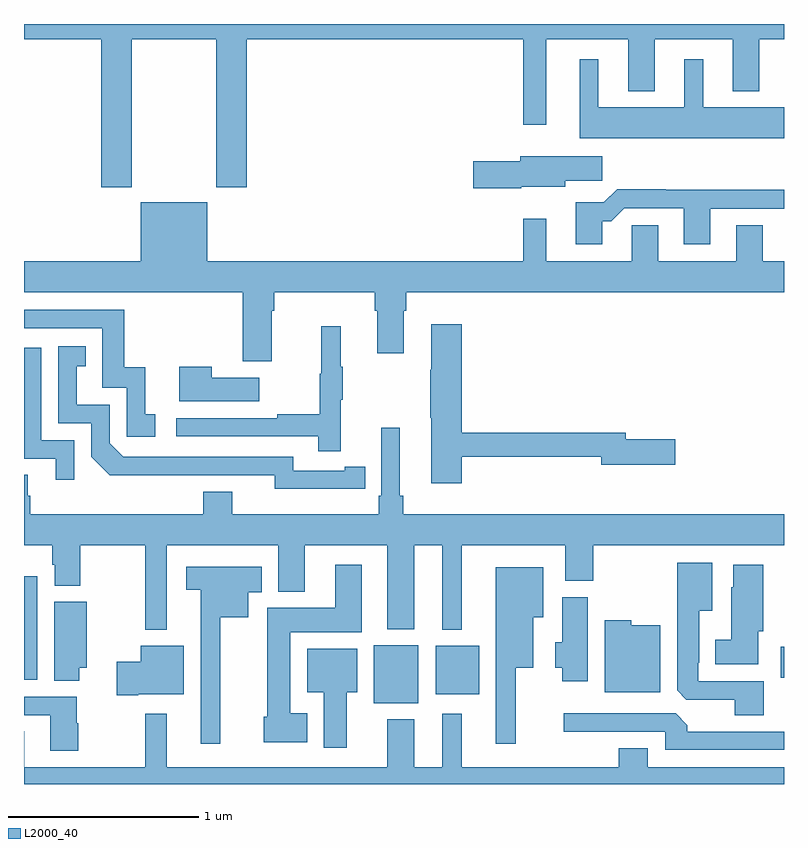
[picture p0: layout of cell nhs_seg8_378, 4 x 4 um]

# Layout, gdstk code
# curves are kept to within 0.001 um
import gdstk
lib = gdstk.Library(unit=1e-6, precision=1e-09)
def R(c, l, rs):  # rectangles x0, y0, x1, y1
    for r in rs: c.add(gdstk.rectangle(r[:2], r[2:], *l))
def P(c, l, *ps):  # polygons
    for p in ps: c.add(gdstk.Polygon(p, *l))
L2000_40 = (2000, 40)

nhs_seg8_378 = lib.new_cell('nhs_seg8_378')
R(nhs_seg8_378, L2000_40, [(136.841,1126.325,137.074,1126.63), (137.168,1126.373,137.395,1126.627), (135,1126.448,135.07,1126.993), (138.984,1126.46,139,1126.623)])
P(nhs_seg8_378, L2000_40, [(135,1129.82),(135.407,1129.82),(135.407,1129.041),(135.567,1129.041),(135.567,1129.82),(136.012,1129.82),(136.012,1129.041),(136.172,1129.041),(136.172,1129.82),(137.628,1129.82),(137.628,1129.371),(137.749,1129.371),(137.749,1129.82),(138.179,1129.82),(138.179,1129.547),(138.319,1129.547),(138.319,1129.82),(138.731,1129.82),(138.731,1129.547),(138.871,1129.547),(138.871,1129.82),(139,1129.82),(139,1129.9),(135,1129.9)],
  [(139,1129.462),(138.574,1129.462),(138.574,1129.714),(138.476,1129.714),(138.476,1129.462),(138.022,1129.462),(138.022,1129.714),(137.924,1129.714),(137.924,1129.298),(139,1129.298)],
  [(137.616,1129.043),(137.848,1129.043),(137.848,1129.075),(138.043,1129.075),(138.043,1129.204),(137.612,1129.204),(137.612,1129.178),(137.364,1129.178),(137.364,1129.036),(137.616,1129.036)],
  [(138.043,1128.863),(138.092,1128.863),(138.159,1128.93),(138.473,1128.93),(138.473,1128.741),(138.613,1128.741),(138.613,1128.927),(139,1128.927),(139,1129.028),(138.377,1129.028),(138.377,1129.031),(138.122,1129.031),(138.052,1128.961),(137.903,1128.961),(137.903,1128.741),(138.043,1128.741)],
  [(139,1128.652),(138.889,1128.652),(138.889,1128.842),(138.749,1128.842),(138.749,1128.652),(138.337,1128.652),(138.337,1128.842),(138.198,1128.842),(138.198,1128.652),(137.749,1128.652),(137.749,1128.874),(137.628,1128.874),(137.628,1128.652),(135.964,1128.652),(135.964,1128.961),(135.614,1128.961),(135.614,1128.652),(135,1128.652),(135,1128.488),(136.151,1128.488),(136.151,1128.126),(136.303,1128.126),(136.303,1128.392),(136.316,1128.392),(136.316,1128.488),(136.847,1128.488),(136.847,1128.392),(136.859,1128.392),(136.859,1128.168),(136.999,1128.168),(136.999,1128.392),(137.012,1128.392),(137.012,1128.488),(139,1128.488)],
  [(135.691,1127.847),(135.638,1127.847),(135.638,1128.094),(135.527,1128.094),(135.527,1128.396),(135,1128.396),(135,1128.3),(135.411,1128.3),(135.411,1127.985),(135.54,1127.985),(135.54,1127.727),(135.691,1127.727)],
  [(137.303,1127.622),(138.038,1127.622),(138.038,1127.579),(138.427,1127.579),(138.427,1127.714),(138.166,1127.714),(138.166,1127.75),(137.303,1127.75),(137.303,1128.319),(137.144,1128.319),(137.144,1128.08),(137.137,1128.08),(137.137,1127.827),(137.144,1127.827),(137.144,1127.484),(137.303,1127.484)],
  [(136.667,1127.923),(136.678,1127.923),(136.678,1128.097),(136.667,1128.097),(136.667,1128.31),(136.564,1128.31),(136.564,1128.06),(136.557,1128.06),(136.557,1127.846),(136.333,1127.846),(136.333,1127.826),(135.801,1127.826),(135.801,1127.73),(136.549,1127.73),(136.549,1127.652),(136.667,1127.652)],
  [(136.688,1127.454),(136.796,1127.454),(136.796,1127.57),(136.688,1127.57),(136.688,1127.55),(136.416,1127.55),(136.416,1127.622),(135.522,1127.622),(135.45,1127.694),(135.45,1127.895),(135.277,1127.895),(135.277,1128.099),(135.326,1128.099),(135.326,1128.205),(135.18,1128.205),(135.18,1127.799),(135.354,1127.799),(135.354,1127.622),(135.452,1127.525),(136.32,1127.526),(136.32,1127.453)],
  [(135.264,1127.709),(135.09,1127.709),(135.09,1128.195),(135,1128.195),(135,1127.613),(135.167,1127.613),(135.167,1127.502),(135.264,1127.502)],
  [(136.237,1128.037),(135.989,1128.037),(135.989,1128.097),(135.818,1128.097),(135.818,1127.915),(136.237,1127.915)],
  [(135.751,1127.156),(136.337,1127.156),(136.337,1126.913),(136.477,1126.913),(136.477,1127.156),(136.913,1127.156),(136.913,1126.715),(137.053,1126.715),(137.053,1127.156),(137.201,1127.156),(137.201,1126.712),(137.305,1126.712),(137.305,1127.156),(137.849,1127.156),(137.849,1126.969),(137.997,1126.969),(137.997,1127.156),(139,1127.156),(139,1127.32),(136.997,1127.32),(136.997,1127.416),(136.978,1127.416),(136.978,1127.776),(136.881,1127.776),(136.881,1127.416),(136.868,1127.416),(136.868,1127.32),(136.096,1127.32),(136.096,1127.437),(135.944,1127.437),(135.944,1127.32),(135.032,1127.32),(135.032,1127.418),(135.019,1127.418),(135.019,1127.528),(135,1127.528),(135,1127.156),(135.149,1127.156),(135.149,1127.055),(135.161,1127.055),(135.161,1126.943),(135.297,1126.943),(135.297,1127.156),(135.637,1127.156),(135.637,1126.712),(135.751,1126.712)],
  [(138.893,1126.44),(138.549,1126.44),(138.549,1126.537),(138.553,1126.537),(138.553,1126.811),(138.622,1126.811),(138.622,1127.065),(138.437,1127.065),(138.437,1126.393),(138.486,1126.344),(138.74,1126.344),(138.74,1126.261),(138.893,1126.261)],
  [(138.865,1126.704),(138.892,1126.704),(138.892,1127.053),(138.734,1127.053),(138.734,1126.935),(138.722,1126.935),(138.722,1126.66),(138.638,1126.66),(138.638,1126.529),(138.865,1126.529)],
  [(136.492,1126.273),(136.402,1126.273),(136.402,1126.7),(136.777,1126.7),(136.777,1127.053),(136.637,1127.053),(136.637,1126.828),(136.28,1126.828),(136.28,1126.254),(136.262,1126.254),(136.262,1126.121),(136.492,1126.121)],
  [(136.033,1126.778),(136.18,1126.778),(136.18,1126.91),(136.252,1126.91),(136.252,1127.044),(135.855,1127.044),(135.855,1126.922),(135.929,1126.922),(135.929,1126.113),(136.033,1126.113)],
  [(137.587,1126.511),(137.68,1126.511),(137.68,1126.778),(137.734,1126.778),(137.734,1127.041),(137.483,1127.041),(137.483,1126.113),(137.587,1126.113)],
  [(137.968,1126.884),(137.834,1126.884),(137.834,1126.646),(137.795,1126.646),(137.795,1126.511),(137.834,1126.511),(137.834,1126.44),(137.968,1126.44)],
  [(135.292,1126.511),(135.331,1126.511),(135.331,1126.858),(135.158,1126.858),(135.158,1126.444),(135.292,1126.444)],
  [(138.349,1126.735),(138.195,1126.735),(138.195,1126.762),(138.056,1126.762),(138.056,1126.382),(138.349,1126.382)],
  [(135.601,1126.373),(135.841,1126.373),(135.841,1126.627),(135.614,1126.627),(135.614,1126.544),(135.489,1126.544),(135.489,1126.366),(135.601,1126.366)],
  [(136.699,1126.382),(136.753,1126.382),(136.753,1126.612),(136.49,1126.612),(136.49,1126.382),(136.577,1126.382),(136.577,1126.092),(136.699,1126.092)],
  [(135.285,1126.221),(135.277,1126.221),(135.277,1126.359),(135,1126.359),(135,1126.263),(135.137,1126.263),(135.137,1126.074),(135.285,1126.074)],
  [(139,1126.176),(138.491,1126.176),(138.491,1126.21),(138.429,1126.272),(137.841,1126.272),(137.841,1126.176),(138.375,1126.176),(138.375,1126.08),(139,1126.08)],
  [(139,1125.988),(138.283,1125.988),(138.283,1126.087),(138.131,1126.087),(138.131,1125.988),(137.305,1125.988),(137.305,1126.27),(137.201,1126.27),(137.201,1125.988),(137.053,1125.988),(137.053,1126.24),(136.913,1126.24),(136.913,1125.988),(135.751,1125.988),(135.751,1126.27),(135.637,1126.27),(135.637,1125.988),(135.001,1125.988),(135.001,1126.178),(135,1126.178),(135,1125.9),(139,1125.9)])

lib.write_gds('nhs_seg8_378.gds')
